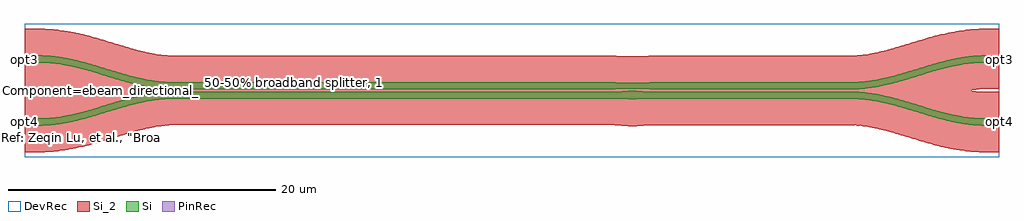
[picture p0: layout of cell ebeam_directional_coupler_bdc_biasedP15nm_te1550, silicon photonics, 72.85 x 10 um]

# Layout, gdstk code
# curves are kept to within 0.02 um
import gdstk
lib = gdstk.Library(unit=1e-6, precision=1e-09)
def R(c, l, rs):  # rectangles x0, y0, x1, y1
    for r in rs: c.add(gdstk.rectangle(r[:2], r[2:], *l))
def P(c, l, *ps):  # polygons
    for p in ps: c.add(gdstk.Polygon(p, *l))
Si = (1, 0)
Si_2 = (1, 2)
PinRec = (1, 10)
DevRec = (68, 0)

ebeam_directional_couple = lib.new_cell('ebeam_directional_coupler_bdc_biasedP15nm_te1550')
P(ebeam_directional_couple, Si, [(-35.45,-2.616),(-35.45,-2.084),(-34.342,-2.029),(-33.254,-1.861),(-31.984,-1.558),(-29.153,-0.713),(-27.855,-0.38),(-26.623,-0.165),(-25.35,-0.084),(7.649,-0.084),(9.2,-0.034),(10.201,-0.084),(25.523,-0.089),(26.681,-0.193),(28.007,-0.449),(29.2,-0.77),(31.737,-1.531),(33.005,-1.841),(34.192,-2.029),(35.3,-2.084),(35.3,-2.616),(34.558,-2.595),(33.616,-2.492),(32.797,-2.342),(31.992,-2.15),(28.858,-1.224),(27.688,-0.922),(26.507,-0.706),(25.404,-0.618),(10.2,-0.616),(8.65,-0.666),(7.65,-0.616),(-25.35,-0.616),(-26.458,-0.682),(-27.741,-0.9),(-29.008,-1.224),(-31.844,-2.07),(-33.15,-2.384),(-34.286,-2.559)],
  [(-25.35,0.084),(-26.623,0.165),(-27.854,0.38),(-29.153,0.713),(-31.984,1.558),(-33.254,1.861),(-34.342,2.029),(-35.45,2.084),(-35.45,2.616),(-34.286,2.559),(-33.15,2.384),(-31.844,2.07),(-29.201,1.28),(-28.131,0.991),(-26.953,0.75),(-25.756,0.625),(7.65,0.616),(8.651,0.566),(10.2,0.616),(25.2,0.616),(25.908,0.643),(26.902,0.766),(27.981,0.991),(29.052,1.28),(31.496,2.015),(32.797,2.342),(34.136,2.559),(35.3,2.616),(35.3,2.084),(34.192,2.029),(33.005,1.841),(31.737,1.531),(29.3,0.799),(28.007,0.449),(26.681,0.193),(25.523,0.089),(10.2,0.084),(8.65,0.134),(7.65,0.084)],
  [(35.3,-2.616),(35.3,-2.084),(36.3,-2.1),(36.3,-2.6)],
  [(35.3,2.084),(35.3,2.616),(36.3,2.6),(36.3,2.1)],
  [(-35.45,-2.616),(-36.45,-2.6),(-36.45,-2.1),(-35.45,-2.084)],
  [(-35.45,2.084),(-36.45,2.1),(-36.45,2.6),(-35.45,2.616)])
P(ebeam_directional_couple, Si_2, [(-36.45,-4.6),(-36.45,-0.1),(-35.043,-0.094),(-34.116,0),(-35.043,0.094),(-36.45,0.1),(-36.45,4.6),(-34.577,4.575),(-33.831,4.504),(-33.01,4.377),(-31.322,3.985),(-27.662,2.918),(-26.637,2.708),(-25.657,2.606),(7.7,2.6),(8.71,2.55),(10.15,2.6),(25.2,2.6),(25.771,2.622),(26.586,2.724),(27.528,2.922),(31.154,3.98),(32.72,4.351),(33.681,4.504),(34.427,4.575),(36.3,4.6),(36.3,0.1),(34.893,0.094),(33.966,0),(34.893,-0.094),(36.3,-0.1),(36.3,-4.6),(34.427,-4.575),(33.681,-4.504),(32.86,-4.377),(31.282,-4.015),(28.483,-3.181),(27.235,-2.853),(26.271,-2.676),(25.18,-2.6),(10.26,-2.6),(9.25,-2.65),(7.59,-2.6),(-25.534,-2.602),(-26.478,-2.684),(-27.641,-2.913),(-31.304,-3.98),(-32.87,-4.351),(-33.831,-4.504),(-34.577,-4.575)])
R(ebeam_directional_couple, DevRec, [(-36.45,-5,36.3,5)])
ebeam_directional_couple.add(gdstk.FlexPath([(36.25,2.35),(36.35,2.35)], 0.5, ends="flush", simple_path=True, layer=1, datatype=10))  # PinRec
ebeam_directional_couple.add(gdstk.FlexPath([(36.25,-2.35),(36.35,-2.35)], 0.5, ends="flush", simple_path=True, layer=1, datatype=10))  # PinRec
ebeam_directional_couple.add(gdstk.FlexPath([(-36.4,2.35),(-36.5,2.35)], 0.5, ends="flush", simple_path=True, layer=1, datatype=10))  # PinRec
ebeam_directional_couple.add(gdstk.FlexPath([(-36.4,-2.35),(-36.5,-2.35)], 0.5, ends="flush", simple_path=True, layer=1, datatype=10))  # PinRec
ebeam_directional_couple.add(gdstk.Label('50-50% broadband splitter, 1550 nm, TE', (-16.299,0.623), layer=10, texttype=0))
ebeam_directional_couple.add(gdstk.Label('opt4', (36.3,-2.35), layer=1, texttype=10))
ebeam_directional_couple.add(gdstk.Label('opt3', (36.3,2.35), layer=1, texttype=10))
ebeam_directional_couple.add(gdstk.Label('opt4', (-36.45,-2.35), layer=1, texttype=10))
ebeam_directional_couple.add(gdstk.Label('opt3', (-36.45,2.35), layer=1, texttype=10))
ebeam_directional_couple.add(gdstk.Label('Component=ebeam_directional_coupler_te1550', (-34.01,0), layer=68, texttype=0))
ebeam_directional_couple.add(gdstk.Label('Lumerical_INTERCONNECT_library=Design kits/ebeam', (-34.01,1.61), layer=68, texttype=0))
ebeam_directional_couple.add(gdstk.Label('Ref: Zeqin Lu, et al., "Broadband silicon photonic directional coupler using asymmetric-waveguide based phase control," Optics Express, 2015', (-35.35,-3.5), layer=68, texttype=0))

lib.write_gds('ebeam_directional_coupler_bdc_biasedP15nm_te1550.gds')
